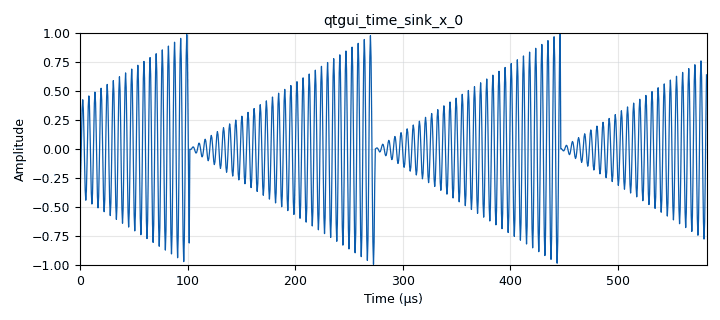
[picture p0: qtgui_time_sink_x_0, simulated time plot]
options:
  parameters:
    author: KevinSandoval_EduardoCaballero
    generate_options: qt_gui
    id: lab3_2
    output_language: python
    title: Not titled yet
  states: {}

blocks:
- name: A
  id: variable_qtgui_range
  parameters:
    label: Amplitud señal
    orient: Qt.Horizontal
    start: '0'
    step: '1'
    stop: '25'
    value: '1'
  states: {}
- name: samp_rate
  id: variable
  parameters:
    value: 17.568e5
  states: {}
- name: CalculoPotenciaComunicaciones_0
  id: CalculoPotenciaComunicaciones
  parameters:
    l_vect: '1024'
  states: {}
- name: analog_sig_source_x_0
  id: analog_sig_source_x
  parameters:
    amp: A
    freq: '5800'
    offset: '0'
    phase: '0'
    samp_rate: samp_rate
    type: float
    waveform: analog.GR_SAW_WAVE
  states: {}
- name: analog_sig_source_x_0_0
  id: analog_sig_source_x
  parameters:
    amp: A
    freq: 17.568e4
    offset: '0'
    phase: '0'
    samp_rate: samp_rate
    type: float
    waveform: analog.GR_COS_WAVE
  states: {}
- name: blocks_multiply_xx_0
  id: blocks_multiply_xx
  parameters:
    type: float
  states: {}
- name: qtgui_time_sink_x_0
  id: qtgui_time_sink_x
  parameters:
    size: '1024'
    srate: samp_rate
    type: float
  states: {}

connections:
- [analog_sig_source_x_0, '0', blocks_multiply_xx_0, '0']
- [analog_sig_source_x_0_0, '0', blocks_multiply_xx_0, '1']
- [blocks_multiply_xx_0, '0', CalculoPotenciaComunicaciones_0, '0']
- [blocks_multiply_xx_0, '0', qtgui_time_sink_x_0, '0']

metadata:
  file_format: 1
